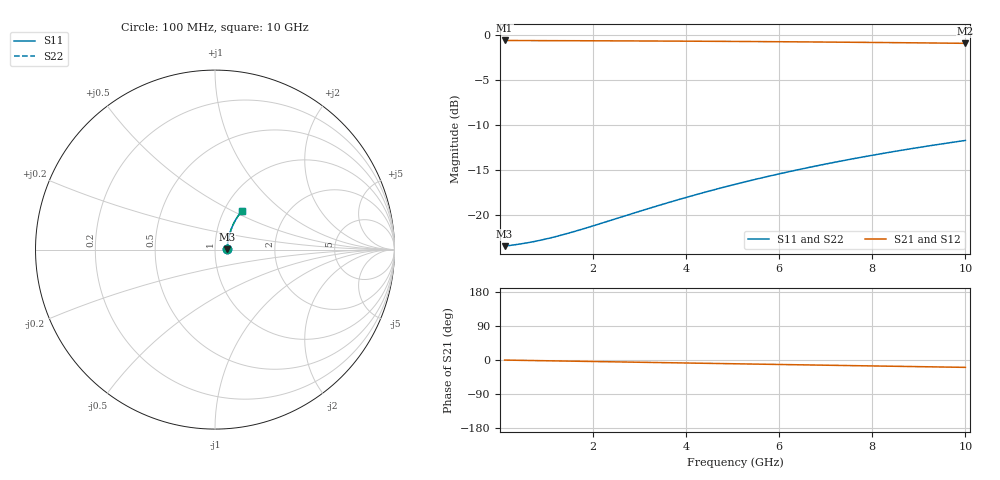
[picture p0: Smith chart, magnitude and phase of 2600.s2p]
# Hz S RI R 50.00
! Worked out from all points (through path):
!   100 points, 100 MHz to 10 GHz, reference 50 ohm
!   highest |S21| = -0.60 dB at 100 MHz (marker M1); lowest = -0.9 dB at 10 GHz (marker M2)
!   group delay of S21, straight-line fit = 5.4 ps
!   lowest |S11| = -23.5 dB at 100 MHz (marker M3), VSWR 1.14, Z = 57.2 + j0.273 ohm
!   |S11| at or under -10 dB: start of sweep to end of sweep
!   |S22| runs from -23.5 to -11.7 dB; largest |S21 - S12| = 0
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1e8  0.0668 0.00238  0.9332 -0.00324  0.9332 -0.00324  0.0668 0.00238
5e8  0.0681 0.0119  0.9319 -0.0162  0.9319 -0.0162  0.0681 0.0119
7e8  0.0687 0.0166  0.9313 -0.0226  0.9313 -0.0226  0.0687 0.0166
9e8  0.0692 0.0213  0.9308 -0.029  0.9308 -0.029  0.0692 0.0213
1.1e9  0.0698 0.026  0.9302 -0.0355  0.9302 -0.0355  0.0698 0.026
1.3e9  0.0703 0.0307  0.9296 -0.0419  0.9296 -0.0419  0.0703 0.0307
1.5e9  0.071 0.0354  0.9289 -0.0483  0.9289 -0.0483  0.071 0.0354
1.8e9  0.072 0.0424  0.9278 -0.0579  0.9278 -0.0579  0.072 0.0424
3.4e9  0.0797 0.0793  0.9199 -0.1085  0.9199 -0.1085  0.0797 0.0793
3.9e9  0.0828 0.0905  0.9166 -0.1241  0.9166 -0.1241  0.0828 0.0905
4.3e9  0.0856 0.0994  0.9137 -0.1364  0.9137 -0.1364  0.0856 0.0994
4.7e9  0.0885 0.1083  0.9106 -0.1487  0.9106 -0.1487  0.0885 0.1083
5.1e9  0.0918 0.117  0.9072 -0.1609  0.9072 -0.1609  0.0918 0.117
5.5e9  0.0952 0.1256  0.9036 -0.1729  0.9036 -0.1729  0.0952 0.1256
5.9e9  0.0989 0.1341  0.8998 -0.1849  0.8998 -0.1849  0.0989 0.1341
6.3e9  0.1027 0.1425  0.8957 -0.1967  0.8957 -0.1967  0.1027 0.1425
6.7e9  0.1068 0.1507  0.8914 -0.2084  0.8914 -0.2084  0.1068 0.1507
7.5e9  0.1156 0.1667  0.8822 -0.2314  0.8822 -0.2314  0.1156 0.1667
7.9e9  0.1203 0.1745  0.8773 -0.2426  0.8773 -0.2426  0.1203 0.1745
8.4e9  0.1264 0.184  0.8709 -0.2565  0.8709 -0.2565  0.1264 0.184
9.2e9  0.1367 0.1988  0.8599 -0.2781  0.8599 -0.2781  0.1367 0.1988
1e10  0.1478 0.2128  0.8483 -0.2991  0.8483 -0.2991  0.1478 0.2128
